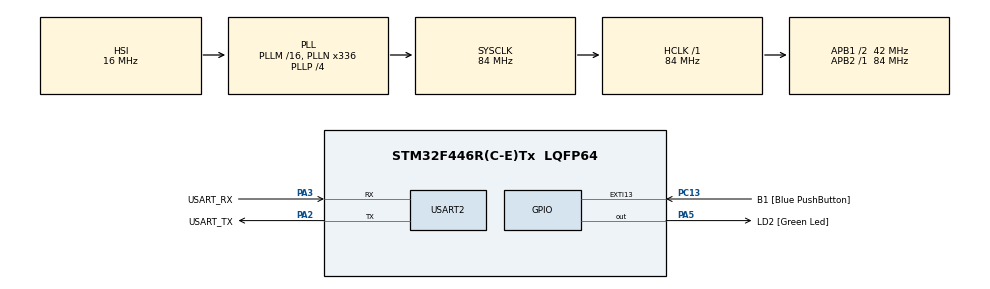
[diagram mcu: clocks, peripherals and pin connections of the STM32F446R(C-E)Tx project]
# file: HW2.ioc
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Mcu.Family=STM32F4
Mcu.Name=STM32F446R(C-E)Tx
Mcu.Package=LQFP64
NVIC.PriorityGroup=NVIC_PRIORITYGROUP_0
PA13.GPIO_Label=TMS
PA13.Mode=Serial_Wire
PA13.Signal=SYS_JTMS-SWDIO
PA14.GPIO_Label=TCK
PA14.Mode=Serial_Wire
PA14.Signal=SYS_JTCK-SWCLK
PA2.GPIO_Label=USART_TX
PA2.Mode=Asynchronous
PA2.Signal=USART2_TX
PA3.GPIO_Label=USART_RX
PA3.Mode=Asynchronous
PA3.Signal=USART2_RX
PA5.GPIO_Label=LD2 [Green Led]
PA5.Signal=GPIO_Output
PB3.GPIO_Label=SWO
PB3.Signal=SYS_JTDO-SWO
PC13.GPIO_Label=B1 [Blue PushButton]
PC13.GPIO_ModeDefaultEXTI=GPIO_MODE_IT_FALLING
PC13.Signal=GPXTI13
PC14-OSC32_IN.Mode=LSE-External-Oscillator
PC14-OSC32_IN.Signal=RCC_OSC32_IN
PC15-OSC32_OUT.Mode=LSE-External-Oscillator
PC15-OSC32_OUT.Signal=RCC_OSC32_OUT
PH0-OSC_IN.Mode=HSE-External-Oscillator
PH0-OSC_IN.Signal=RCC_OSC_IN
PH1-OSC_OUT.Mode=HSE-External-Oscillator
PH1-OSC_OUT.Signal=RCC_OSC_OUT
ProjectManager.HeapSize=0x200
ProjectManager.StackSize=0x400
ProjectManager.TargetToolchain=STM32CubeIDE
RCC.48MHZClocksFreq_Value=84000000
RCC.AHBFreq_Value=84000000
RCC.APB1CLKDivider=RCC_HCLK_DIV2
RCC.APB1Freq_Value=42000000
RCC.APB1TimFreq_Value=84000000
RCC.APB2Freq_Value=84000000
RCC.APB2TimFreq_Value=84000000
RCC.CortexFreq_Value=84000000
RCC.FLatency-AdvancedSettings=FLASH_LATENCY_2
RCC.HCLKFreq_Value=84000000
RCC.HSE_VALUE=8000000
RCC.HSI_VALUE=16000000
RCC.PLLN=336
RCC.PLLP=RCC_PLLP_DIV4
RCC.SYSCLKFreq_VALUE=84000000
RCC.SYSCLKSource=RCC_SYSCLKSOURCE_PLLCLK
RCC.USBFreq_Value=168000000
RCC.VCOOutputFreq_Value=336000000
USART2.VirtualMode=VM_ASYNC
board=NUCLEO-F446RE

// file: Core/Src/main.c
/* USER CODE BEGIN Header */
/**
  ******************************************************************************
  * @file           : main.c
  * @brief          : Main program body
  ******************************************************************************
  * @attention
  *
  * Copyright (c) 2025 STMicroelectronics.
  * All rights reserved.
  *
  * This software is licensed under terms that can be found in the LICENSE file
  * in the root directory of this software component.
  * If no LICENSE file comes with this software, it is provided AS-IS.
  *
  ******************************************************************************
  */
/* USER CODE END Header */
#include "main.h"

/* USER CODE BEGIN Includes */
/* USER CODE BEGIN Includes */
#include "mandrill.h"  // Az önce sürüklediğin dosya
#include <string.h>
#include <stdlib.h>
/* USER CODE END Includes */
/* USER CODE END Includes */

UART_HandleTypeDef huart2;

/* USER CODE BEGIN PV */
/* USER CODE BEGIN PV */

// Resim boyutları
#define IMG_W   160
#define IMG_H   120
#define IMG_SIZE (IMG_W * IMG_H)

uint8_t img_in[IMG_SIZE];
uint8_t img_eq[IMG_SIZE];
uint8_t img_low[IMG_SIZE];
uint8_t img_high[IMG_SIZE];
uint8_t img_med[IMG_SIZE];

// Histogramlar
uint32_t hist_orig[256];
uint32_t hist_eq[256];

/* USER CODE END PV */

/* USER CODE END PV */

void SystemClock_Config(void);
static void MX_GPIO_Init(void);
static void MX_USART2_UART_Init(void);

/* USER CODE BEGIN 0 */
void copy_image(const uint8_t *src, uint8_t *dst, uint32_t size);
void calc_histogram(const uint8_t *img, uint32_t size, uint32_t *hist);
void hist_equalize(const uint8_t *inImg, uint8_t *outImg, uint32_t size,
                   uint32_t *hist_in, uint32_t *hist_out);
void conv3x3(const uint8_t *in, uint8_t *out, uint32_t w, uint32_t h,
             const int8_t kernel[3][3], int divisor);
void low_pass_filter(const uint8_t *in, uint8_t *out, uint32_t w, uint32_t h);
void high_pass_filter(const uint8_t *in, uint8_t *out, uint32_t w, uint32_t h);
void median_filter3x3(const uint8_t *in, uint8_t *out, uint32_t w, uint32_t h);

void copy_image(const uint8_t *src, uint8_t *dst, uint32_t size) {
    for (uint32_t i = 0; i < size; i++)
        dst[i] = src[i];
}

void calc_histogram(const uint8_t *img, uint32_t size, uint32_t *hist) {
    for (int i = 0; i < 256; i++)
        hist[i] = 0;
    for (uint32_t i = 0; i < size; i++)
        hist[img[i]]++;
}

// integer tabanlı histogram equalization
void hist_equalize(const uint8_t *inImg, uint8_t *outImg, uint32_t size,
                   uint32_t *hist_in, uint32_t *hist_out) {
    uint32_t cdf[256];
    uint8_t  lut[256];

    calc_histogram(inImg, size, hist_in);

    cdf[0] = hist_in[0];
    for (int i = 1; i < 256; i++)
        cdf[i] = cdf[i - 1] + hist_in[i];

    for (int i = 0; i < 256; i++) {
        uint32_t num = cdf[i] * 255u + (size / 2u);
        lut[i] = (uint8_t)(num / size);
    }

    for (uint32_t i = 0; i < size; i++)
        outImg[i] = lut[inImg[i]];

    calc_histogram(outImg, size, hist_out);
}

// Genel 3x3 konvolüsyon, border'ları input'tan kopyalıyor
void conv3x3(const uint8_t *in, uint8_t *out, uint32_t w, uint32_t h,
             const int8_t kernel[3][3], int divisor) {
    // kenarlar: input'u direkt kopyala
    for (uint32_t x = 0; x < w; x++) {
        out[x] = in[x];
        out[(h - 1) * w + x] = in[(h - 1) * w + x];
    }
    for (uint32_t y = 0; y < h; y++) {
        out[y * w] = in[y * w];
        out[y * w + (w - 1)] = in[y * w + (w - 1)];
    }

    for (uint32_t y = 1; y < h - 1; y++) {
        for (uint32_t x = 1; x < w - 1; x++) {
            int32_t sum = 0;
            for (int ky = -1; ky <= 1; ky++) {
                for (int kx = -1; kx <= 1; kx++) {
                    uint8_t pixel = in[(y + ky) * w + (x + kx)];
                    sum += pixel * kernel[ky + 1][kx + 1];
                }
            }

            if (divisor != 0)
                sum /= divisor;

            if (sum < 0)   sum = 0;
            if (sum > 255) sum = 255;

            out[y * w + x] = (uint8_t)sum;
        }
    }
}

void low_pass_filter(const uint8_t *in, uint8_t *out, uint32_t w, uint32_t h) {
    const int8_t k[3][3] = {
        { 1, 1, 1 },
        { 1, 1, 1 },
        { 1, 1, 1 }
    };
    conv3x3(in, out, w, h, k, 9);
}

void high_pass_filter(const uint8_t *in, uint8_t *out, uint32_t w, uint32_t h) {
    const int8_t k[3][3] = {
        {  0, -1,  0 },
        { -1,  4, -1 },
        {  0, -1,  0 }
    };
    conv3x3(in, out, w, h, k, 1);
}

// 3x3 median filtresi
static void sort9(uint8_t *v) {
    for (int i = 0; i < 9; i++) {
        for (int j = i + 1; j < 9; j++) {
            if (v[j] < v[i]) {
                uint8_t t = v[i];
                v[i] = v[j];
                v[j] = t;
            }
        }
    }
}

void median_filter3x3(const uint8_t *in, uint8_t *out, uint32_t w, uint32_t h) {
    // kenarlar: input'u kopyala
    for (uint32_t x = 0; x < w; x++) {
        out[x] = in[x];
        out[(h - 1) * w + x] = in[(h - 1) * w + x];
    }
    for (uint32_t y = 0; y < h; y++) {
        out[y * w] = in[y * w];
        out[y * w + (w - 1)] = in[y * w + (w - 1)];
    }

    uint8_t win[9];

    for (uint32_t y = 1; y < h - 1; y++) {
        for (uint32_t x = 1; x < w - 1; x++) {

            int k = 0;
            for (int ky = -1; ky <= 1; ky++) {
                for (int kx = -1; kx <= 1; kx++) {
                    win[k++] = in[(y + ky) * w + (x + kx)];
                }
            }

            sort9(win);
            out[y * w + x] = win[4];
        }
    }
}

/* USER CODE END 0 */

/* USER CODE END 0 */

int main(void)
{

  /* MCU Configuration--------------------------------------------------------*/

  /* Reset of all peripherals, Initializes the Flash interface and the Systick. */
  HAL_Init();

  /* Configure the system clock */
  SystemClock_Config();

  /* Initialize all configured peripherals */
  MX_GPIO_Init();
  MX_USART2_UART_Init();
  /* USER CODE BEGIN 2 */
  // burada HAL_Init vs kullanıyorsan kendi template'ine göre ekle

  // mandrill.h içindeki dizi ismine göre değiştir
  // ör: extern const uint8_t mandrill[IMG_SIZE];
  copy_image(grayscale_image, img_in, IMG_SIZE);

  // Q1: orijinal histogram
  calc_histogram(img_in, IMG_SIZE, hist_orig);

  // Q2: histogram equalization
  hist_equalize(img_in, img_eq, IMG_SIZE, hist_orig, hist_eq);

  // Q3: low-pass ve high-pass filtre
  low_pass_filter(img_in,   img_low,  IMG_W, IMG_H);
  high_pass_filter(img_in,  img_high, IMG_W, IMG_H);

  // Q4: median filtre
  median_filter3x3(img_in,  img_med,  IMG_W, IMG_H);

  // Buradan sonrası sadece bekleme; Memory Window'dan
  // img_in, img_eq, img_low, img_high, img_med,
  // hist_orig ve hist_eq dizilerini inceleyebilirsin.
  /* USER CODE END 2 */

  /* Infinite loop */
  while (1)
  {

  }
}

void SystemClock_Config(void)
{
  RCC_OscInitTypeDef RCC_OscInitStruct = {0};
  RCC_ClkInitTypeDef RCC_ClkInitStruct = {0};

  /** Configure the main internal regulator output voltage
  */
  __HAL_RCC_PWR_CLK_ENABLE();
  __HAL_PWR_VOLTAGESCALING_CONFIG(PWR_REGULATOR_VOLTAGE_SCALE3);

  /** Initializes the RCC Oscillators according to the specified parameters
  * in the RCC_OscInitTypeDef structure.
  */
  RCC_OscInitStruct.OscillatorType = RCC_OSCILLATORTYPE_HSI;
  RCC_OscInitStruct.HSIState = RCC_HSI_ON;
  RCC_OscInitStruct.HSICalibrationValue = RCC_HSICALIBRATION_DEFAULT;
  RCC_OscInitStruct.PLL.PLLState = RCC_PLL_ON;
  RCC_OscInitStruct.PLL.PLLSource = RCC_PLLSOURCE_HSI;
  RCC_OscInitStruct.PLL.PLLM = 16;
  RCC_OscInitStruct.PLL.PLLN = 336;
  RCC_OscInitStruct.PLL.PLLP = RCC_PLLP_DIV4;
  RCC_OscInitStruct.PLL.PLLQ = 2;
  RCC_OscInitStruct.PLL.PLLR = 2;
  if (HAL_RCC_OscConfig(&RCC_OscInitStruct) != HAL_OK)
  {
    Error_Handler();
  }

  /** Initializes the CPU, AHB and APB buses clocks
  */
  RCC_ClkInitStruct.ClockType = RCC_CLOCKTYPE_HCLK|RCC_CLOCKTYPE_SYSCLK
                              |RCC_CLOCKTYPE_PCLK1|RCC_CLOCKTYPE_PCLK2;
  RCC_ClkInitStruct.SYSCLKSource = RCC_SYSCLKSOURCE_PLLCLK;
  RCC_ClkInitStruct.AHBCLKDivider = RCC_SYSCLK_DIV1;
  RCC_ClkInitStruct.APB1CLKDivider = RCC_HCLK_DIV2;
  RCC_ClkInitStruct.APB2CLKDivider = RCC_HCLK_DIV1;

  if (HAL_RCC_ClockConfig(&RCC_ClkInitStruct, FLASH_LATENCY_2) != HAL_OK)
  {
    Error_Handler();
  }
}

static void MX_USART2_UART_Init(void)
{

  huart2.Instance = USART2;
  huart2.Init.BaudRate = 115200;
  huart2.Init.WordLength = UART_WORDLENGTH_8B;
  huart2.Init.StopBits = UART_STOPBITS_1;
  huart2.Init.Parity = UART_PARITY_NONE;
  huart2.Init.Mode = UART_MODE_TX_RX;
  huart2.Init.HwFlowCtl = UART_HWCONTROL_NONE;
  huart2.Init.OverSampling = UART_OVERSAMPLING_16;
  if (HAL_UART_Init(&huart2) != HAL_OK)
  {
    Error_Handler();
  }

}

static void MX_GPIO_Init(void)
{
  GPIO_InitTypeDef GPIO_InitStruct = {0};

  /* GPIO Ports Clock Enable */
  __HAL_RCC_GPIOC_CLK_ENABLE();
  __HAL_RCC_GPIOH_CLK_ENABLE();
  __HAL_RCC_GPIOA_CLK_ENABLE();
  __HAL_RCC_GPIOB_CLK_ENABLE();

  /*Configure GPIO pin Output Level */
  HAL_GPIO_WritePin(LD2_GPIO_Port, LD2_Pin, GPIO_PIN_RESET);

  /*Configure GPIO pin : B1_Pin */
  GPIO_InitStruct.Pin = B1_Pin;
  GPIO_InitStruct.Mode = GPIO_MODE_IT_FALLING;
  GPIO_InitStruct.Pull = GPIO_NOPULL;
  HAL_GPIO_Init(B1_GPIO_Port, &GPIO_InitStruct);

  /*Configure GPIO pin : LD2_Pin */
  GPIO_InitStruct.Pin = LD2_Pin;
  GPIO_InitStruct.Mode = GPIO_MODE_OUTPUT_PP;
  GPIO_InitStruct.Pull = GPIO_NOPULL;
  GPIO_InitStruct.Speed = GPIO_SPEED_FREQ_LOW;
  HAL_GPIO_Init(LD2_GPIO_Port, &GPIO_InitStruct);

}

void Error_Handler(void)
{
  __disable_irq();
  while (1)
  {
  }
}
